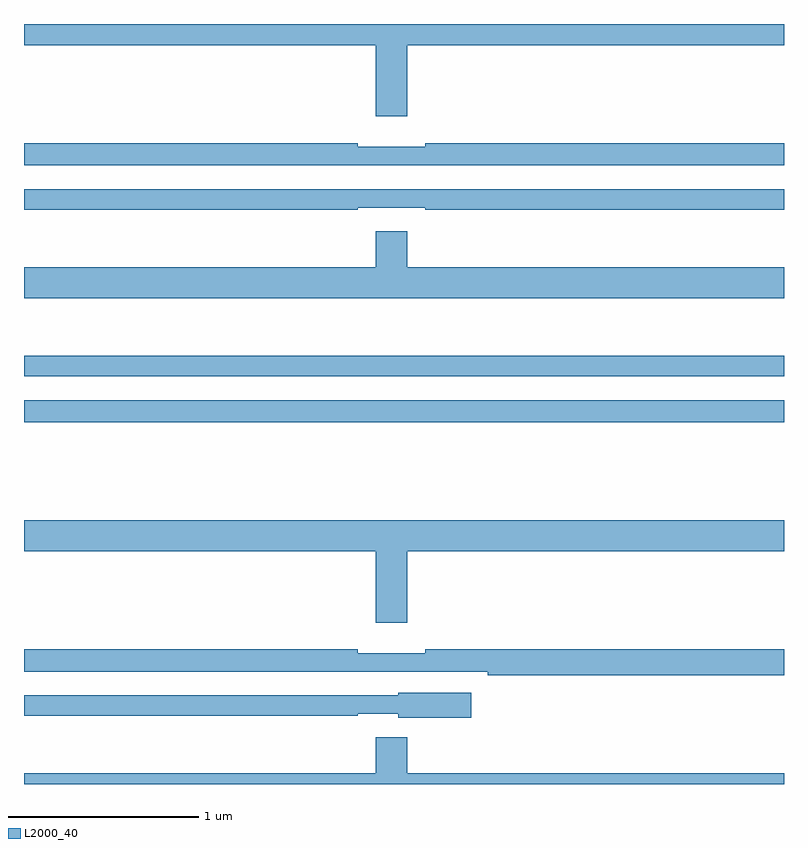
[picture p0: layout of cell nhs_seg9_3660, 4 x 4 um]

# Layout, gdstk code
import gdstk
lib = gdstk.Library(unit=1e-6, precision=1e-09)
def R(c, l, rs):  # rectangles x0, y0, x1, y1
    for r in rs: c.add(gdstk.rectangle(r[:2], r[2:], *l))
def P(c, l, *ps):  # polygons
    for p in ps: c.add(gdstk.Polygon(p, *l))
L2000_40 = (2000, 40)

nhs_seg9_3660 = lib.new_cell('nhs_seg9_3660')
R(nhs_seg9_3660, L2000_40, [(319,1226.404,323,1226.52), (319,1226.646,323,1226.755)])
P(nhs_seg9_3660, L2000_40, [(321.016,1228.388),(323,1228.388),(323,1228.5),(319,1228.5),(319,1228.388),(320.852,1228.388),(320.852,1228.014),(321.016,1228.014)],
  [(323,1227.872),(321.112,1227.872),(321.112,1227.853),(320.756,1227.853),(320.756,1227.872),(319,1227.872),(319,1227.756),(323,1227.756)],
  [(320.756,1227.534),(321.112,1227.534),(321.112,1227.522),(323,1227.522),(323,1227.63),(319,1227.63),(319,1227.522),(320.756,1227.522)],
  [(323,1227.22),(321.016,1227.22),(321.016,1227.409),(320.852,1227.409),(320.852,1227.22),(319,1227.22),(319,1227.056),(323,1227.056)],
  [(321.016,1225.724),(323,1225.724),(323,1225.888),(319,1225.888),(319,1225.724),(320.852,1225.724),(320.852,1225.35),(321.016,1225.35)],
  [(323,1225.208),(321.112,1225.208),(321.112,1225.189),(320.756,1225.189),(320.756,1225.208),(319,1225.208),(319,1225.092),(321.442,1225.092),(321.442,1225.072),(323,1225.072)],
  [(321.355,1224.979),(320.97,1224.979),(320.97,1224.966),(319,1224.966),(319,1224.858),(320.756,1224.858),(320.756,1224.87),(320.97,1224.87),(320.97,1224.85),(321.355,1224.85)],
  [(323,1224.556),(321.016,1224.556),(321.016,1224.745),(320.852,1224.745),(320.852,1224.556),(319,1224.556),(319,1224.5),(323,1224.5)])

lib.write_gds('nhs_seg9_3660.gds')
